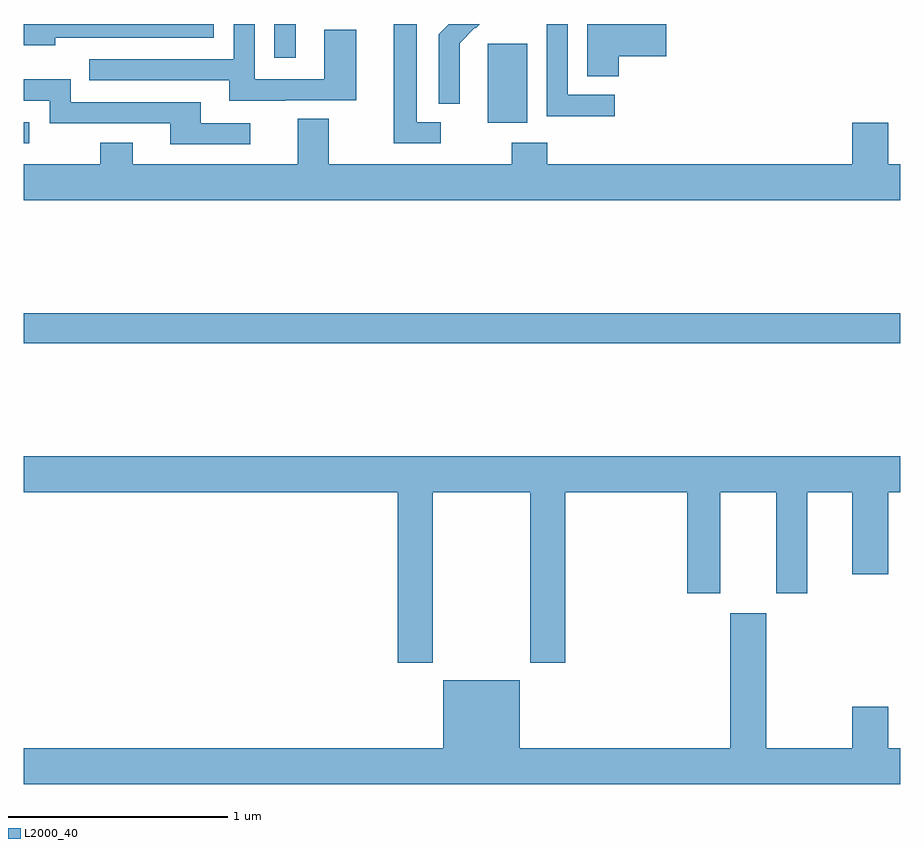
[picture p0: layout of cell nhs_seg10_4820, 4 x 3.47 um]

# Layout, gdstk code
import gdstk
lib = gdstk.Library(unit=1e-6, precision=1e-09)
def R(c, l, rs):  # rectangles x0, y0, x1, y1
    for r in rs: c.add(gdstk.rectangle(r[:2], r[2:], *l))
def P(c, l, *ps):  # polygons
    for p in ps: c.add(gdstk.Polygon(p, *l))
L2000_40 = (2000, 40)

nhs_seg10_4820 = lib.new_cell('nhs_seg10_4820')
R(nhs_seg10_4820, L2000_40, [(389,1253.044,393,1253.18), (389,1253.955,389.026,1254.051), (391.118,1254.05,391.297,1254.411), (390.144,1254.345,390.241,1254.5)])
P(nhs_seg10_4820, L2000_40, [(391.715,1254.353),(391.933,1254.353),(391.933,1254.5),(391.571,1254.5),(391.571,1254.262),(391.715,1254.262)],
  [(390.193,1254.153),(390.517,1254.153),(390.517,1254.473),(390.372,1254.473),(390.372,1254.249),(390.054,1254.249),(390.054,1254.5),(389.958,1254.5),(389.958,1254.339),(389.299,1254.339),(389.299,1254.243),(389.939,1254.243),(389.939,1254.149),(390.193,1254.149)],
  [(390.904,1254.051),(390.793,1254.051),(390.793,1254.5),(390.689,1254.5),(390.689,1253.955),(390.904,1253.955)],
  [(389.144,1254.438),(389.868,1254.438),(389.868,1254.5),(389,1254.5),(389,1254.404),(389.144,1254.404)],
  [(390.99,1254.29),(390.989,1254.29),(390.989,1254.413),(391.059,1254.483),(391.062,1254.48),(391.082,1254.5),(390.94,1254.5),(390.894,1254.454),(390.894,1254.136),(390.99,1254.136)],
  [(391.696,1254.177),(391.482,1254.177),(391.482,1254.5),(391.386,1254.5),(391.386,1254.079),(391.696,1254.079)],
  [(390.034,1254.048),(389.809,1254.048),(389.809,1254.144),(389.214,1254.144),(389.214,1254.247),(389,1254.247),(389,1254.15),(389.118,1254.15),(389.118,1254.048),(389.669,1254.048),(389.669,1253.952),(390.034,1253.952)],
  [(393,1253.86),(392.944,1253.86),(392.944,1254.049),(392.78,1254.049),(392.78,1253.86),(391.388,1253.86),(391.388,1253.959),(391.228,1253.959),(391.228,1253.86),(390.391,1253.86),(390.391,1254.068),(390.251,1254.068),(390.251,1253.86),(389.497,1253.86),(389.497,1253.959),(389.35,1253.959),(389.35,1253.86),(389,1253.86),(389,1253.696),(393,1253.696)],
  [(390.867,1252.364),(391.312,1252.364),(391.312,1251.585),(391.472,1251.585),(391.472,1252.364),(392.027,1252.364),(392.027,1251.903),(392.179,1251.903),(392.179,1252.364),(392.435,1252.364),(392.435,1251.903),(392.575,1251.903),(392.575,1252.364),(392.78,1252.364),(392.78,1251.99),(392.944,1251.99),(392.944,1252.364),(393,1252.364),(393,1252.528),(389,1252.528),(389,1252.364),(390.707,1252.364),(390.707,1251.585),(390.867,1251.585)],
  [(393,1251.196),(392.944,1251.196),(392.944,1251.385),(392.78,1251.385),(392.78,1251.196),(392.389,1251.196),(392.389,1251.811),(392.225,1251.811),(392.225,1251.196),(391.264,1251.196),(391.264,1251.505),(390.914,1251.505),(390.914,1251.196),(389,1251.196),(389,1251.032),(393,1251.032)])

lib.write_gds('nhs_seg10_4820.gds')
